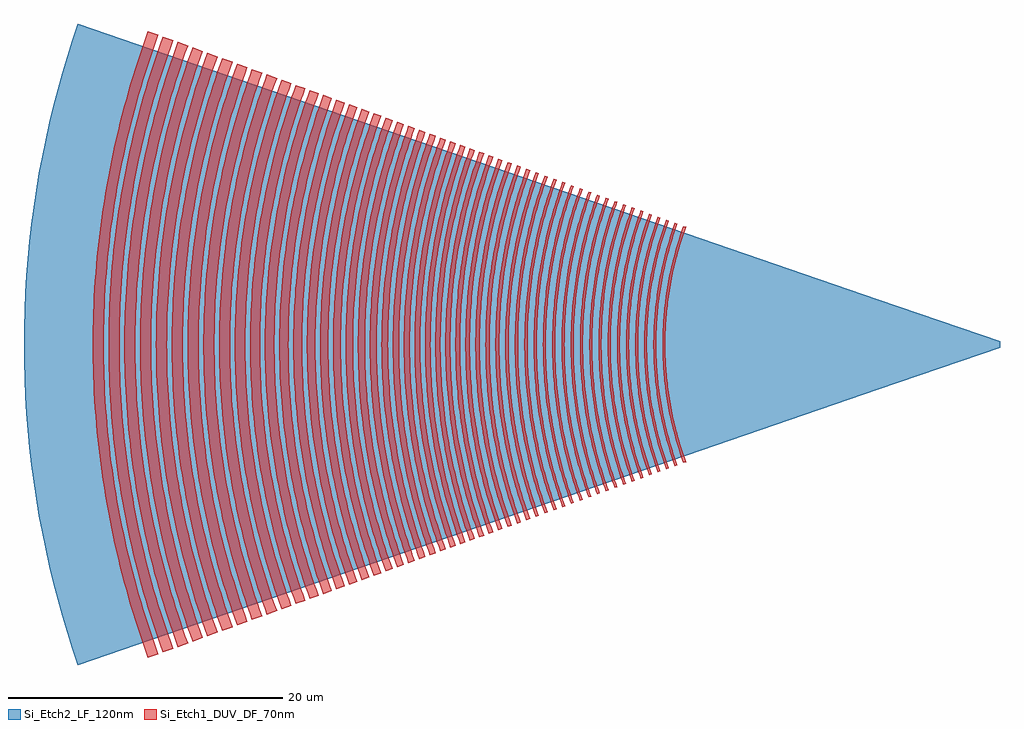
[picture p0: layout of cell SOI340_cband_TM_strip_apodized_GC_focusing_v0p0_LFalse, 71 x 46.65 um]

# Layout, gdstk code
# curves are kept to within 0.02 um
import gdstk
lib = gdstk.Library(unit=1e-6, precision=1e-09)
def P(c, l, *ps):  # polygons
    for p in ps: c.add(gdstk.Polygon(p, *l))
Si_Etch2_LF_120nm = (3, 0)
Si_Etch1_DUV_DF_70nm = (6, 0)

soi340_cband_tm_strip_ap = lib.new_cell('SOI340_cband_TM_strip_apodized_GC_focusing_v0p0_LFalse')
P(soi340_cband_tm_strip_ap, Si_Etch2_LF_120nm, [(-67.092,-23.326),(-67.864,-20.948),(-68.554,-18.544),(-69.159,-16.117),(-69.679,-13.671),(-69.907,-12.442),(-70.298,-9.971),(-70.461,-8.732),(-70.722,-6.245),(-70.897,-3.75),(-70.984,-1.25),(-70.995,0),(-70.984,1.25),(-70.897,3.75),(-70.722,6.245),(-70.461,8.732),(-70.298,9.971),(-69.907,12.442),(-69.679,13.671),(-69.159,16.117),(-68.554,18.544),(-67.864,20.948),(-67.092,23.326),(0,0.225),(0,-0.225)])
P(soi340_cband_tm_strip_ap, Si_Etch1_DUV_DF_70nm, [(-23.027,-8.619),(-23.381,-7.578),(-23.745,-6.31),(-24.164,-4.376),(-24.36,-3.071),(-24.451,-2.196),(-24.523,-1.099),(-24.547,0),(-24.523,1.099),(-24.451,2.196),(-24.36,3.071),(-24.164,4.376),(-23.745,6.31),(-23.381,7.578),(-23.027,8.619),(-22.839,8.551),(-23.255,7.309),(-23.551,6.26),(-23.801,5.198),(-24.039,3.911),(-24.27,1.961),(-24.347,0),(-24.27,-1.961),(-24.039,-3.911),(-23.801,-5.198),(-23.551,-6.26),(-23.255,-7.309),(-22.839,-8.551)],
  [(-23.648,-8.843),(-24.01,-7.776),(-24.326,-6.693),(-24.594,-5.597),(-24.814,-4.491),(-24.985,-3.375),(-25.108,-2.253),(-25.183,-1.127),(-25.207,0),(-25.183,1.127),(-25.108,2.253),(-24.985,3.375),(-24.814,4.491),(-24.594,5.597),(-24.326,6.693),(-24.01,7.776),(-23.648,8.843),(-23.46,8.776),(-23.886,7.502),(-24.19,6.425),(-24.492,5.116),(-24.725,3.793),(-24.928,2.013),(-24.983,1.119),(-25.007,0),(-24.983,-1.119),(-24.928,-2.013),(-24.725,-3.793),(-24.492,-5.116),(-24.19,-6.425),(-23.886,-7.502),(-23.46,-8.776)],
  [(-24.282,-9.074),(-24.654,-7.979),(-24.978,-6.868),(-25.253,-5.743),(-25.479,-4.608),(-25.655,-3.463),(-25.781,-2.312),(-25.857,-1.158),(-25.882,0),(-25.857,1.158),(-25.781,2.312),(-25.655,3.463),(-25.479,4.608),(-25.253,5.743),(-24.978,6.868),(-24.654,7.979),(-24.282,9.074),(-24.094,9.007),(-24.531,7.7),(-24.843,6.594),(-25.107,5.475),(-25.358,4.12),(-25.513,2.981),(-25.601,2.066),(-25.657,1.149),(-25.682,0),(-25.657,-1.149),(-25.601,-2.066),(-25.513,-2.981),(-25.358,-4.12),(-25.107,-5.475),(-24.843,-6.594),(-24.531,-7.7),(-24.094,-9.007)],
  [(-24.89,-9.295),(-25.271,-8.174),(-25.603,-7.035),(-25.884,-5.883),(-26.116,-4.72),(-26.296,-3.548),(-26.425,-2.369),(-26.503,-1.186),(-26.529,0),(-26.503,1.186),(-26.425,2.369),(-26.296,3.548),(-26.116,4.72),(-25.884,5.883),(-25.603,7.035),(-25.271,8.174),(-24.89,9.295),(-24.702,9.228),(-25.15,7.889),(-25.47,6.756),(-25.739,5.61),(-25.997,4.221),(-26.156,3.054),(-26.246,2.117),(-26.313,0.942),(-26.329,0),(-26.313,-0.942),(-26.246,-2.117),(-26.156,-3.054),(-25.997,-4.221),(-25.739,-5.61),(-25.47,-6.756),(-25.15,-7.889),(-24.702,-9.228)],
  [(-25.51,-9.521),(-25.901,-8.372),(-26.303,-6.971),(-26.581,-5.788),(-26.766,-4.835),(-26.951,-3.634),(-27.083,-2.426),(-27.163,-1.215),(-27.189,0),(-27.163,1.215),(-27.083,2.426),(-26.951,3.634),(-26.766,4.835),(-26.581,5.788),(-26.303,6.971),(-25.901,8.372),(-25.51,9.521),(-25.322,9.454),(-25.71,8.312),(-26.109,6.921),(-26.385,5.747),(-26.649,4.324),(-26.783,3.369),(-26.904,2.169),(-26.963,1.206),(-26.989,0),(-26.963,-1.206),(-26.904,-2.169),(-26.783,-3.369),(-26.649,-4.324),(-26.385,-5.747),(-26.109,-6.921),(-25.71,-8.312),(-25.322,-9.454)],
  [(-26.132,-9.749),(-26.532,-8.571),(-26.88,-7.378),(-27.229,-5.926),(-27.418,-4.949),(-27.607,-3.72),(-27.742,-2.485),(-27.824,-1.243),(-27.851,0),(-27.824,1.243),(-27.742,2.485),(-27.607,3.72),(-27.418,4.949),(-27.229,5.926),(-26.88,7.378),(-26.532,8.571),(-26.132,9.749),(-25.941,9.68),(-26.338,8.51),(-26.747,7.086),(-27.03,5.884),(-27.3,4.427),(-27.466,3.204),(-27.561,2.22),(-27.631,0.988),(-27.648,0),(-27.631,-0.988),(-27.561,-2.22),(-27.466,-3.204),(-27.3,-4.427),(-27.03,-5.884),(-26.747,-7.086),(-26.338,-8.51),(-25.941,-9.68)],
  [(-26.769,-9.98),(-27.179,-8.775),(-27.535,-7.553),(-27.837,-6.316),(-28.086,-5.067),(-28.279,-3.809),(-28.418,-2.544),(-28.501,-1.273),(-28.529,0),(-28.501,1.273),(-28.418,2.544),(-28.279,3.809),(-28.086,5.067),(-27.837,6.316),(-27.535,7.553),(-27.179,8.775),(-26.769,9.98),(-26.577,9.911),(-26.984,8.714),(-27.402,7.256),(-27.743,5.777),(-28.007,4.283),(-28.236,2.274),(-28.307,1.011),(-28.325,0),(-28.307,-1.011),(-28.236,-2.274),(-28.007,-4.283),(-27.743,-5.777),(-27.402,-7.256),(-26.984,-8.714),(-26.577,-9.911)],
  [(-27.396,-10.209),(-27.814,-8.976),(-28.179,-7.725),(-28.488,-6.461),(-28.743,-5.182),(-28.906,-4.155),(-29.082,-2.602),(-29.168,-1.302),(-29.196,0),(-29.168,1.302),(-29.082,2.602),(-28.906,4.155),(-28.743,5.182),(-28.488,6.461),(-28.179,7.725),(-27.814,8.976),(-27.396,10.209),(-27.202,10.139),(-27.695,8.667),(-28.046,7.422),(-28.395,5.91),(-28.625,4.637),(-28.769,3.613),(-28.899,2.326),(-28.962,1.293),(-28.99,0),(-28.962,-1.293),(-28.899,-2.326),(-28.769,-3.613),(-28.625,-4.637),(-28.395,-5.91),(-28.046,-7.422),(-27.695,-8.667),(-27.202,-10.139)],
  [(-28.024,-10.436),(-28.452,-9.176),(-28.824,-7.899),(-29.198,-6.345),(-29.4,-5.299),(-29.603,-3.983),(-29.748,-2.66),(-29.835,-1.331),(-29.864,0),(-29.835,1.331),(-29.748,2.66),(-29.603,3.983),(-29.4,5.299),(-29.198,6.345),(-28.824,7.899),(-28.452,9.176),(-28.024,10.436),(-27.836,10.369),(-28.261,9.116),(-28.698,7.591),(-29.002,6.303),(-29.291,4.743),(-29.438,3.695),(-29.571,2.379),(-29.646,1.058),(-29.664,0),(-29.646,-1.058),(-29.571,-2.379),(-29.438,-3.695),(-29.291,-4.743),(-29.002,-6.303),(-28.698,-7.591),(-28.261,-9.116),(-27.836,-10.369)],
  [(-28.663,-10.669),(-29.1,-9.381),(-29.481,-8.074),(-29.804,-6.752),(-30.07,-5.418),(-30.277,-4.072),(-30.425,-2.719),(-30.515,-1.361),(-30.544,0),(-30.515,1.361),(-30.425,2.719),(-30.277,4.072),(-30.07,5.418),(-29.804,6.752),(-29.481,8.074),(-29.1,9.381),(-28.663,10.669),(-28.47,10.6),(-28.905,9.319),(-29.352,7.76),(-29.717,6.179),(-29.999,4.581),(-30.14,3.508),(-30.264,2.162),(-30.339,0),(-30.264,-2.162),(-30.14,-3.508),(-29.999,-4.581),(-29.717,-6.179),(-29.352,-7.76),(-28.905,-9.319),(-28.47,-10.6)],
  [(-29.302,-10.901),(-29.749,-9.586),(-30.138,-8.25),(-30.468,-6.899),(-30.74,-5.536),(-30.951,-4.161),(-31.102,-2.778),(-31.194,-1.391),(-31.224,0),(-31.194,1.391),(-31.102,2.778),(-30.951,4.161),(-30.74,5.536),(-30.468,6.899),(-30.138,8.25),(-29.749,9.586),(-29.302,10.901),(-29.109,10.832),(-29.635,9.26),(-30.01,7.93),(-30.327,6.585),(-30.629,4.955),(-30.783,3.86),(-30.921,2.485),(-31,1.105),(-31.019,0),(-31,-1.105),(-30.921,-2.485),(-30.783,-3.86),(-30.629,-4.955),(-30.327,-6.585),(-30.01,-7.93),(-29.635,-9.26),(-29.109,-10.832)],
  [(-29.921,-11.127),(-30.378,-9.783),(-30.774,-8.421),(-31.112,-7.042),(-31.389,-5.649),(-31.604,-4.247),(-31.759,-2.836),(-31.852,-1.419),(-31.883,0),(-31.852,1.419),(-31.759,2.836),(-31.604,4.247),(-31.389,5.649),(-31.112,7.042),(-30.774,8.421),(-30.378,9.783),(-29.921,11.127),(-29.729,11.058),(-30.183,9.722),(-30.649,8.095),(-31.03,6.446),(-31.281,5.058),(-31.438,3.94),(-31.579,2.537),(-31.648,1.41),(-31.679,0),(-31.648,-1.41),(-31.579,-2.537),(-31.438,-3.94),(-31.281,-5.058),(-31.03,-6.446),(-30.649,-8.095),(-30.183,-9.722),(-29.729,-11.058)],
  [(-30.563,-11.361),(-31.028,-9.99),(-31.434,-8.598),(-31.778,-7.19),(-32.061,-5.768),(-32.282,-4.336),(-32.439,-2.895),(-32.535,-1.449),(-32.566,0),(-32.535,1.449),(-32.439,2.895),(-32.282,4.336),(-32.061,5.768),(-31.778,7.19),(-31.434,8.598),(-31.028,9.99),(-30.563,11.361),(-30.368,11.291),(-30.917,9.652),(-31.307,8.266),(-31.638,6.864),(-31.953,5.164),(-32.147,3.737),(-32.257,2.59),(-32.328,1.44),(-32.359,0),(-32.328,-1.44),(-32.257,-2.59),(-32.147,-3.737),(-31.953,-5.164),(-31.638,-6.864),(-31.307,-8.266),(-30.917,-9.652),(-30.368,-11.291)],
  [(-31.199,-11.593),(-31.675,-10.193),(-32.088,-8.773),(-32.375,-7.625),(-32.728,-5.886),(-32.953,-4.425),(-33.114,-2.954),(-33.211,-1.479),(-33.243,0),(-33.211,1.479),(-33.114,2.954),(-32.953,4.425),(-32.728,5.886),(-32.375,7.625),(-32.088,8.773),(-31.675,10.193),(-31.199,11.593),(-31.006,11.523),(-31.479,10.131),(-31.965,8.436),(-32.362,6.717),(-32.623,5.27),(-32.787,4.106),(-32.934,2.643),(-33.006,1.47),(-33.038,0),(-33.006,-1.47),(-32.934,-2.643),(-32.787,-4.106),(-32.623,-5.27),(-32.362,-6.717),(-31.965,-8.436),(-31.479,-10.131),(-31.006,-11.523)],
  [(-31.828,-11.822),(-32.313,-10.394),(-32.735,-8.946),(-33.094,-7.481),(-33.388,-6.002),(-33.617,-4.512),(-33.781,-3.013),(-33.88,-1.507),(-33.913,0),(-33.88,1.507),(-33.781,3.013),(-33.617,4.512),(-33.388,6.002),(-33.094,7.481),(-32.735,8.946),(-32.313,10.394),(-31.828,11.822),(-31.627,11.749),(-32.198,10.044),(-32.605,8.601),(-33.009,6.849),(-33.276,5.374),(-33.443,4.186),(-33.593,2.695),(-33.678,1.199),(-33.699,0),(-33.678,-1.199),(-33.593,-2.695),(-33.443,-4.186),(-33.276,-5.374),(-33.009,-6.849),(-32.605,-8.601),(-32.198,-10.044),(-31.627,-11.749)],
  [(-32.466,-12.053),(-32.96,-10.598),(-33.39,-9.122),(-33.756,-7.628),(-34.056,-6.12),(-34.289,-4.6),(-34.457,-3.071),(-34.558,-1.538),(-34.591,0),(-34.558,1.538),(-34.457,3.071),(-34.289,4.6),(-34.056,6.12),(-33.756,7.628),(-33.39,9.122),(-32.96,10.598),(-32.466,12.053),(-32.256,11.978),(-32.838,10.239),(-33.252,8.769),(-33.603,7.281),(-33.937,5.478),(-34.143,3.964),(-34.26,2.748),(-34.335,1.528),(-34.368,0),(-34.335,-1.528),(-34.26,-2.748),(-34.143,-3.964),(-33.937,-5.478),(-33.603,-7.281),(-33.252,-8.769),(-32.838,-10.239),(-32.256,-11.978)],
  [(-33.123,-12.293),(-33.627,-10.809),(-34.066,-9.303),(-34.506,-7.473),(-34.744,-6.241),(-34.983,-4.692),(-35.154,-3.133),(-35.257,-1.568),(-35.291,0),(-35.257,1.568),(-35.154,3.133),(-34.983,4.692),(-34.744,6.241),(-34.506,7.473),(-34.066,9.303),(-33.627,10.809),(-33.123,12.293),(-32.905,12.214),(-33.499,10.441),(-33.921,8.942),(-34.279,7.425),(-34.619,5.587),(-34.793,4.352),(-34.949,2.802),(-35.025,1.558),(-35.059,0),(-35.025,-1.558),(-34.949,-2.802),(-34.793,-4.352),(-34.619,-5.587),(-34.279,-7.425),(-33.921,-8.942),(-33.499,-10.441),(-32.905,-12.214)],
  [(-33.777,-12.531),(-34.292,-11.018),(-34.738,-9.483),(-35.118,-7.931),(-35.43,-6.362),(-35.674,-4.782),(-35.848,-3.194),(-35.952,-1.598),(-35.987,0),(-35.952,1.598),(-35.848,3.194),(-35.674,4.782),(-35.43,6.362),(-35.118,7.931),(-34.738,9.483),(-34.292,11.018),(-33.777,12.531),(-33.544,12.447),(-34.055,10.943),(-34.58,9.112),(-34.944,7.566),(-35.291,5.693),(-35.468,4.435),(-35.627,2.855),(-35.717,1.27),(-35.739,0),(-35.717,-1.27),(-35.627,-2.855),(-35.468,-4.435),(-35.291,-5.693),(-34.944,-7.566),(-34.58,-9.112),(-34.055,-10.943),(-33.544,-12.447)],
  [(-34.446,-12.775),(-34.97,-11.232),(-35.426,-9.667),(-35.813,-8.084),(-36.132,-6.486),(-36.38,-4.876),(-36.557,-3.256),(-36.664,-1.629),(-36.699,0),(-36.664,1.629),(-36.557,3.256),(-36.38,4.876),(-36.132,6.486),(-35.813,8.084),(-35.426,9.667),(-34.97,11.232),(-34.446,12.775),(-34.181,12.679),(-34.797,10.838),(-35.236,9.282),(-35.673,7.391),(-35.961,5.799),(-36.141,4.518),(-36.303,2.908),(-36.382,1.617),(-36.417,0),(-36.382,-1.617),(-36.303,-2.908),(-36.141,-4.518),(-35.961,-5.799),(-35.673,-7.391),(-35.236,-9.282),(-34.797,-10.838),(-34.181,-12.679)],
  [(-35.129,-13.023),(-35.663,-11.451),(-36.129,-9.856),(-36.523,-8.242),(-36.847,-6.613),(-37.1,-4.971),(-37.281,-3.319),(-37.39,-1.661),(-37.426,0),(-37.39,1.661),(-37.281,3.319),(-37.1,4.971),(-36.847,6.613),(-36.523,8.242),(-36.129,9.856),(-35.663,11.451),(-35.129,13.023),(-34.851,12.923),(-35.479,11.047),(-35.927,9.46),(-36.304,7.856),(-36.665,5.911),(-36.887,4.277),(-37.014,2.964),(-37.107,1.319),(-37.13,0),(-37.107,-1.319),(-37.014,-2.964),(-36.887,-4.277),(-36.665,-5.911),(-36.304,-7.856),(-35.927,-9.46),(-35.479,-11.047),(-34.851,-12.923)],
  [(-35.815,-13.273),(-36.36,-11.67),(-36.833,-10.045),(-37.236,-8.4),(-37.566,-6.739),(-37.824,-5.066),(-38.009,-3.382),(-38.119,-1.693),(-38.156,0),(-38.119,1.693),(-38.009,3.382),(-37.824,5.066),(-37.566,6.739),(-37.236,8.4),(-36.833,10.045),(-36.36,11.67),(-35.815,13.273),(-35.522,13.167),(-36.162,11.255),(-36.618,9.639),(-37.071,7.675),(-37.421,5.69),(-37.597,4.358),(-37.75,2.685),(-37.821,1.344),(-37.844,0),(-37.821,-1.344),(-37.75,-2.685),(-37.597,-4.358),(-37.421,-5.69),(-37.071,-7.675),(-36.618,-9.639),(-36.162,-11.255),(-35.522,-13.167)],
  [(-36.501,-13.521),(-37.055,-11.889),(-37.538,-10.234),(-37.947,-8.558),(-38.284,-6.866),(-38.547,-5.161),(-38.735,-3.446),(-38.848,-1.725),(-38.885,0),(-38.848,1.725),(-38.735,3.446),(-38.547,5.161),(-38.284,6.866),(-37.947,8.558),(-37.538,10.234),(-37.055,11.889),(-36.501,13.521),(-36.197,13.412),(-36.747,11.792),(-37.313,9.819),(-37.775,7.818),(-38.131,5.796),(-38.31,4.439),(-38.441,3.077),(-38.525,1.711),(-38.562,0),(-38.525,-1.711),(-38.441,-3.077),(-38.31,-4.439),(-38.131,-5.796),(-37.775,-7.818),(-37.313,-9.819),(-36.747,-11.792),(-36.197,-13.412)],
  [(-37.184,-13.77),(-37.748,-12.108),(-38.24,-10.422),(-38.658,-8.715),(-39,-6.992),(-39.267,-5.255),(-39.459,-3.51),(-39.574,-1.757),(-39.612,0),(-39.574,1.757),(-39.459,3.51),(-39.267,5.255),(-39,6.992),(-38.658,8.715),(-38.24,10.422),(-37.748,12.108),(-37.184,13.77),(-36.865,13.655),(-37.528,11.673),(-38.087,9.659),(-38.539,7.618),(-38.834,5.901),(-39.016,4.52),(-39.176,2.785),(-39.249,1.393),(-39.273,0),(-39.249,-1.393),(-39.176,-2.785),(-39.016,-4.52),(-38.834,-5.901),(-38.539,-7.618),(-38.087,-9.659),(-37.528,-11.673),(-36.865,-13.655)],
  [(-37.869,-14.019),(-38.444,-12.327),(-38.944,-10.61),(-39.37,-8.873),(-39.719,-7.119),(-39.99,-5.35),(-40.185,-3.573),(-40.302,-1.789),(-40.341,0),(-40.302,1.789),(-40.185,3.573),(-39.99,5.35),(-39.719,7.119),(-39.37,8.873),(-38.944,10.61),(-38.444,12.327),(-37.869,14.019),(-37.534,13.899),(-38.104,12.22),(-38.691,10.175),(-39.169,8.102),(-39.539,6.007),(-39.724,4.6),(-39.86,3.188),(-39.96,1.418),(-39.985,0),(-39.96,-1.418),(-39.86,-3.188),(-39.724,-4.6),(-39.539,-6.007),(-39.169,-8.102),(-38.691,-10.175),(-38.104,-12.22),(-37.534,-13.899)],
  [(-38.559,-14.27),(-39.144,-12.547),(-39.653,-10.8),(-40.086,-9.032),(-40.441,-7.246),(-40.718,-5.447),(-40.917,-3.637),(-41.036,-1.821),(-41.075,0),(-41.036,1.821),(-40.917,3.637),(-40.718,5.447),(-40.441,7.246),(-40.086,9.032),(-39.653,10.8),(-39.144,12.547),(-38.559,14.27),(-38.207,14.144),(-38.894,12.091),(-39.473,10.004),(-39.871,8.245),(-40.247,6.113),(-40.435,4.681),(-40.574,3.245),(-40.662,1.804),(-40.701,0),(-40.662,-1.804),(-40.574,-3.245),(-40.435,-4.681),(-40.247,-6.113),(-39.871,-8.245),(-39.473,-10.004),(-38.894,-12.091),(-38.207,-14.144)],
  [(-39.258,-14.525),(-39.853,-12.772),(-40.372,-10.992),(-40.813,-9.193),(-41.174,-7.375),(-41.456,-5.544),(-41.658,-3.702),(-41.779,-1.853),(-41.819,0),(-41.779,1.853),(-41.658,3.702),(-41.456,5.544),(-41.174,7.375),(-40.813,9.193),(-40.372,10.992),(-39.853,12.772),(-39.258,14.525),(-38.889,14.392),(-39.479,12.654),(-40.087,10.536),(-40.582,8.389),(-40.965,6.22),(-41.157,4.764),(-41.297,3.302),(-41.387,1.836),(-41.427,0),(-41.387,-1.836),(-41.297,-3.302),(-41.157,-4.764),(-40.965,-6.22),(-40.582,-8.389),(-40.087,-10.536),(-39.479,-12.654),(-38.889,-14.392)],
  [(-39.974,-14.785),(-40.579,-13.001),(-41.107,-11.189),(-41.555,-9.357),(-41.923,-7.507),(-42.21,-5.643),(-42.415,-3.768),(-42.539,-1.886),(-42.58,0),(-42.539,1.886),(-42.415,3.768),(-42.21,5.643),(-41.923,7.507),(-41.555,9.357),(-41.107,11.189),(-40.579,13.001),(-39.974,14.785),(-39.587,14.646),(-40.298,12.52),(-40.897,10.36),(-41.382,8.171),(-41.699,6.329),(-41.894,4.848),(-42.065,2.987),(-42.143,1.494),(-42.169,0),(-42.143,-1.494),(-42.065,-2.987),(-41.894,-4.848),(-41.699,-6.329),(-41.382,-8.171),(-40.897,-10.36),(-40.298,-12.52),(-39.587,-14.646)],
  [(-40.71,-15.052),(-41.326,-13.236),(-41.863,-11.392),(-42.32,-9.527),(-42.694,-7.643),(-42.986,-5.745),(-43.195,-3.837),(-43.322,-1.92),(-43.363,0),(-43.322,1.92),(-43.195,3.837),(-42.986,5.745),(-42.694,7.643),(-42.32,9.527),(-41.863,11.392),(-41.326,13.236),(-40.71,15.052),(-40.303,14.907),(-41.027,12.743),(-41.543,10.913),(-42.056,8.689),(-42.452,6.442),(-42.651,4.934),(-42.797,3.42),(-42.89,1.901),(-42.931,0),(-42.89,-1.901),(-42.797,-3.42),(-42.651,-4.934),(-42.452,-6.442),(-42.056,-8.689),(-41.543,-10.913),(-41.027,-12.743),(-40.303,-14.907)],
  [(-41.464,-15.327),(-42.093,-13.477),(-42.639,-11.601),(-43.104,-9.701),(-43.486,-7.783),(-43.783,-5.85),(-43.996,-3.906),(-44.125,-1.955),(-44.167,0),(-44.125,1.955),(-43.996,3.906),(-43.783,5.85),(-43.486,7.783),(-43.104,9.701),(-42.639,11.601),(-42.093,13.477),(-41.464,15.327),(-41.038,15.174),(-41.661,13.341),(-42.301,11.109),(-42.823,8.845),(-43.227,6.558),(-43.429,5.022),(-43.606,3.095),(-43.687,1.548),(-43.714,0),(-43.687,-1.548),(-43.606,-3.095),(-43.429,-5.022),(-43.227,-6.558),(-42.823,-8.845),(-42.301,-11.109),(-41.661,-13.341),(-41.038,-15.174)],
  [(-42.239,-15.609),(-42.878,-13.725),(-43.436,-11.813),(-43.909,-9.88),(-44.298,-7.926),(-44.601,-5.958),(-44.817,-3.978),(-44.948,-1.99),(-44.991,0),(-44.948,1.99),(-44.817,3.978),(-44.601,5.958),(-44.298,7.926),(-43.909,9.88),(-43.436,11.813),(-42.878,13.725),(-42.239,15.609),(-41.794,15.449),(-42.544,13.207),(-43.079,11.31),(-43.611,9.006),(-44.022,6.677),(-44.228,5.114),(-44.379,3.544),(-44.475,1.97),(-44.518,0),(-44.475,-1.97),(-44.379,-3.544),(-44.228,-5.114),(-44.022,-6.677),(-43.611,-9.006),(-43.079,-11.31),(-42.544,-13.207),(-41.794,-15.449)],
  [(-43.034,-15.899),(-43.685,-13.98),(-44.253,-12.032),(-44.735,-10.062),(-45.131,-8.073),(-45.44,-6.069),(-45.66,-4.052),(-45.793,-2.028),(-45.837,0),(-45.793,2.028),(-45.66,4.052),(-45.44,6.069),(-45.131,8.073),(-44.735,10.062),(-44.253,12.032),(-43.685,13.98),(-43.034,15.899),(-42.568,15.731),(-43.213,13.831),(-43.775,11.904),(-44.252,9.955),(-44.643,7.987),(-44.949,6.004),(-45.167,4.009),(-45.298,2.006),(-45.342,0),(-45.298,-2.006),(-45.167,-4.009),(-44.949,-6.004),(-44.643,-7.987),(-44.252,-9.955),(-43.775,-11.904),(-43.213,-13.831),(-42.568,-15.731)],
  [(-43.851,-16.196),(-44.514,-14.241),(-45.092,-12.257),(-45.584,-10.25),(-45.986,-8.224),(-46.301,-6.182),(-46.526,-4.128),(-46.661,-2.065),(-46.706,0),(-46.661,2.065),(-46.526,4.128),(-46.301,6.182),(-45.986,8.224),(-45.584,10.25),(-45.092,12.257),(-44.514,14.241),(-43.851,16.196),(-43.363,16.021),(-44.02,14.085),(-44.592,12.123),(-45.078,10.138),(-45.476,8.134),(-45.787,6.114),(-46.01,4.082),(-46.143,2.043),(-46.188,0),(-46.143,-2.043),(-46.01,-4.082),(-45.787,-6.114),(-45.476,-8.134),(-45.078,-10.138),(-44.592,-12.123),(-44.02,-14.085),(-43.363,-16.021)],
  [(-44.688,-16.499),(-45.364,-14.508),(-45.953,-12.488),(-46.453,-10.443),(-46.864,-8.379),(-47.184,-6.297),(-47.413,-4.205),(-47.552,-2.104),(-47.597,0),(-47.552,2.104),(-47.413,4.205),(-47.184,6.297),(-46.864,8.379),(-46.453,10.443),(-45.953,12.488),(-45.364,14.508),(-44.688,16.499),(-44.179,16.317),(-44.848,14.346),(-45.43,12.348),(-45.925,10.326),(-46.331,8.285),(-46.648,6.227),(-46.874,4.158),(-47.011,2.081),(-47.056,0),(-47.011,-2.081),(-46.874,-4.158),(-46.648,-6.227),(-46.331,-8.285),(-45.925,-10.326),(-45.43,-12.348),(-44.848,-14.346),(-44.179,-16.317)],
  [(-45.548,-16.813),(-46.237,-14.784),(-46.837,-12.725),(-47.347,-10.642),(-47.765,-8.537),(-48.091,-6.418),(-48.325,-4.285),(-48.465,-2.145),(-48.512,0),(-48.465,2.145),(-48.325,4.285),(-48.091,6.418),(-47.765,8.537),(-47.347,10.642),(-46.837,12.725),(-46.237,14.784),(-45.548,16.813),(-45.016,16.622),(-45.698,14.614),(-46.291,12.579),(-46.795,10.519),(-47.209,8.439),(-47.531,6.344),(-47.762,4.236),(-47.901,2.12),(-47.947,0),(-47.901,-2.12),(-47.762,-4.236),(-47.531,-6.344),(-47.209,-8.439),(-46.795,-10.519),(-46.291,-12.579),(-45.698,-14.614),(-45.016,-16.622)],
  [(-46.43,-17.134),(-47.132,-15.066),(-47.744,-12.968),(-48.263,-10.845),(-48.69,-8.7),(-49.022,-6.54),(-49.261,-4.367),(-49.403,-2.186),(-49.451,0),(-49.403,2.186),(-49.261,4.367),(-49.022,6.54),(-48.69,8.7),(-48.263,10.845),(-47.744,12.968),(-47.132,15.066),(-46.43,17.134),(-45.876,16.935),(-46.57,14.889),(-47.175,12.815),(-47.688,10.717),(-48.11,8.598),(-48.438,6.463),(-48.674,4.316),(-48.815,2.16),(-48.862,0),(-48.815,-2.16),(-48.674,-4.316),(-48.438,-6.463),(-48.11,-8.598),(-47.688,-10.717),(-47.175,-12.815),(-46.57,-14.889),(-45.876,-16.935)],
  [(-47.337,-17.464),(-48.053,-15.356),(-48.676,-13.217),(-49.206,-11.053),(-49.64,-8.868),(-49.979,-6.666),(-50.222,-4.45),(-50.367,-2.228),(-50.416,0),(-50.367,2.228),(-50.222,4.45),(-49.979,6.666),(-49.64,8.868),(-49.206,11.053),(-48.676,13.217),(-48.053,15.356),(-47.337,17.464),(-46.758,17.256),(-47.466,15.172),(-48.082,13.058),(-48.605,10.92),(-49.034,8.761),(-49.369,6.586),(-49.609,4.397),(-49.753,2.201),(-49.801,0),(-49.753,-2.201),(-49.609,-4.397),(-49.369,-6.586),(-49.034,-8.761),(-48.605,-10.92),(-48.082,-13.058),(-47.466,-15.172),(-46.758,-17.256)],
  [(-48.268,-17.803),(-48.997,-15.655),(-49.633,-13.474),(-50.173,-11.268),(-50.616,-9.041),(-50.962,-6.796),(-51.209,-4.537),(-51.357,-2.271),(-51.407,0),(-51.357,2.271),(-51.209,4.537),(-50.962,6.796),(-50.616,9.041),(-50.173,11.268),(-49.633,13.474),(-48.997,15.655),(-48.268,17.803),(-47.665,17.586),(-48.386,15.462),(-49.014,13.308),(-49.547,11.129),(-49.985,8.929),(-50.326,6.712),(-50.57,4.481),(-50.717,2.243),(-50.766,0),(-50.717,-2.243),(-50.57,-4.481),(-50.326,-6.712),(-49.985,-8.929),(-49.547,-11.129),(-49.014,-13.308),(-48.386,-15.462),(-47.665,-17.586)],
  [(-49.225,-18.152),(-49.969,-15.961),(-50.617,-13.738),(-51.168,-11.489),(-51.62,-9.217),(-51.972,-6.928),(-52.225,-4.626),(-52.375,-2.315),(-52.426,0),(-52.375,2.315),(-52.225,4.626),(-51.972,6.928),(-51.62,9.217),(-51.168,11.489),(-50.617,13.738),(-49.969,15.961),(-49.225,18.152),(-48.596,17.925),(-49.331,15.76),(-49.971,13.565),(-50.515,11.344),(-50.961,9.101),(-51.309,6.841),(-51.558,4.568),(-51.707,2.286),(-51.757,0),(-51.707,-2.286),(-51.558,-4.568),(-51.309,-6.841),(-50.961,-9.101),(-50.515,-11.344),(-49.971,-13.565),(-49.331,-15.76),(-48.596,-17.925)],
  [(-50.21,-18.509),(-50.968,-16.275),(-51.628,-14.008),(-52.191,-11.714),(-52.65,-9.399),(-53.01,-7.065),(-53.267,-4.718),(-53.421,-2.361),(-53.473,0),(-53.421,2.361),(-53.267,4.718),(-53.01,7.065),(-52.65,9.399),(-52.191,11.714),(-51.628,14.008),(-50.968,16.275),(-50.21,18.509),(-49.554,18.274),(-50.303,16.066),(-50.955,13.828),(-51.51,11.564),(-51.964,9.278),(-52.319,6.974),(-52.573,4.657),(-52.725,2.331),(-52.776,0),(-52.725,-2.331),(-52.573,-4.657),(-52.319,-6.974),(-51.964,-9.278),(-51.51,-11.564),(-50.955,-13.828),(-50.303,-16.066),(-49.554,-18.274)],
  [(-51.222,-18.876),(-51.994,-16.599),(-52.668,-14.287),(-53.241,-11.948),(-53.71,-9.586),(-54.077,-7.206),(-54.339,-4.811),(-54.496,-2.408),(-54.549,0),(-54.496,2.408),(-54.339,4.811),(-54.077,7.206),(-53.71,9.586),(-53.241,11.948),(-52.668,14.287),(-51.994,16.599),(-51.222,18.876),(-50.538,18.632),(-51.302,16.381),(-51.967,14.099),(-52.532,11.791),(-52.995,9.46),(-53.357,7.111),(-53.616,4.748),(-53.771,2.376),(-53.823,0),(-53.771,-2.376),(-53.616,-4.748),(-53.357,-7.111),(-52.995,-9.46),(-52.532,-11.791),(-51.967,-14.099),(-51.302,-16.381),(-50.538,-18.632)],
  [(-52.261,-19.256),(-53.05,-16.933),(-53.737,-14.574),(-54.321,-12.188),(-54.801,-9.778),(-55.174,-7.35),(-55.442,-4.908),(-55.602,-2.456),(-55.656,0),(-55.602,2.456),(-55.442,4.908),(-55.174,7.35),(-54.801,9.778),(-54.321,12.188),(-53.737,14.574),(-53.05,16.933),(-52.261,19.256),(-51.549,19),(-52.328,16.705),(-53.006,14.378),(-53.582,12.024),(-54.055,9.647),(-54.424,7.251),(-54.688,4.842),(-54.846,2.423),(-54.899,0),(-54.846,-2.423),(-54.688,-4.842),(-54.424,-7.251),(-54.055,-9.647),(-53.582,-12.024),(-53.006,-14.378),(-52.328,-16.705),(-51.549,-19)],
  [(-53.332,-19.645),(-54.137,-17.275),(-54.837,-14.868),(-55.433,-12.434),(-55.922,-9.976),(-56.303,-7.498),(-56.576,-5.007),(-56.74,-2.505),(-56.795,0),(-56.74,2.505),(-56.576,5.007),(-56.303,7.498),(-55.922,9.976),(-55.433,12.434),(-54.837,14.868),(-54.137,17.275),(-53.332,19.645),(-52.589,19.379),(-53.384,17.038),(-54.075,14.664),(-54.663,12.263),(-55.145,9.839),(-55.521,7.395),(-55.79,4.938),(-55.952,2.471),(-56.006,0),(-55.952,-2.471),(-55.79,-4.938),(-55.521,-7.395),(-55.145,-9.839),(-54.663,-12.263),(-54.075,-14.664),(-53.384,-17.038),(-52.589,-19.379)],
  [(-54.412,-20.039),(-55.233,-17.621),(-55.949,-15.166),(-56.556,-12.683),(-57.055,-10.176),(-57.444,-7.648),(-57.722,-5.107),(-57.889,-2.556),(-57.945,0),(-57.889,2.556),(-57.722,5.107),(-57.444,7.648),(-57.055,10.176),(-56.556,12.683),(-55.949,15.166),(-55.233,17.621),(-54.412,20.039),(-53.659,19.768),(-54.47,17.38),(-55.176,14.959),(-55.775,12.51),(-56.267,10.037),(-56.651,7.544),(-56.925,5.037),(-57.09,2.521),(-57.145,0),(-57.09,-2.521),(-56.925,-5.037),(-56.651,-7.544),(-56.267,-10.037),(-55.775,-12.51),(-55.176,-14.959),(-54.47,-17.38),(-53.659,-19.768)],
  [(-55.493,-20.432),(-56.33,-17.966),(-57.059,-15.464),(-57.679,-12.932),(-58.187,-10.375),(-58.584,-7.799),(-58.868,-5.207),(-59.038,-2.606),(-59.095,0),(-59.038,2.606),(-58.868,5.207),(-58.584,7.799),(-58.187,10.375),(-57.679,12.932),(-57.059,15.464),(-56.33,17.966),(-55.493,20.432),(-54.74,20.161),(-55.567,17.726),(-56.286,15.257),(-56.898,12.759),(-57.399,10.236),(-57.791,7.694),(-58.071,5.138),(-58.239,2.571),(-58.295,0),(-58.239,-2.571),(-58.071,-5.138),(-57.791,-7.694),(-57.399,-10.236),(-56.898,-12.759),(-56.286,-15.257),(-55.567,-17.726),(-54.74,-20.161)],
  [(-56.574,-20.825),(-57.426,-18.312),(-58.17,-15.762),(-58.801,-13.181),(-59.32,-10.575),(-59.724,-7.948),(-60.013,-5.308),(-60.187,-2.655),(-60.245,0),(-60.187,2.655),(-60.013,5.308),(-59.724,7.948),(-59.32,10.575),(-58.801,13.181),(-58.17,15.762),(-57.426,18.312),(-56.574,20.825),(-55.821,20.555),(-56.663,18.072),(-57.397,15.555),(-58.02,13.008),(-58.532,10.436),(-58.931,7.844),(-59.216,5.238),(-59.388,2.621),(-59.445,0),(-59.388,-2.621),(-59.216,-5.238),(-58.931,-7.844),(-58.532,-10.436),(-58.02,-13.008),(-57.397,-15.555),(-56.663,-18.072),(-55.821,-20.555)],
  [(-57.654,-21.219),(-58.523,-18.659),(-59.281,-16.059),(-59.924,-13.43),(-60.453,-10.775),(-60.864,-8.098),(-61.159,-5.408),(-61.336,-2.707),(-61.395,0),(-61.336,2.707),(-61.159,5.408),(-60.864,8.098),(-60.453,10.775),(-59.924,13.43),(-59.281,16.059),(-58.523,18.659),(-57.654,21.219),(-56.901,20.948),(-57.76,18.418),(-58.508,15.852),(-59.143,13.256),(-59.665,10.636),(-60.071,7.994),(-60.362,5.338),(-60.537,2.672),(-60.595,0),(-60.537,-2.672),(-60.362,-5.338),(-60.071,-7.994),(-59.665,-10.636),(-59.143,-13.256),(-58.508,-15.852),(-57.76,-18.418),(-56.901,-20.948)],
  [(-58.735,-21.612),(-59.62,-19.004),(-60.392,-16.356),(-61.047,-13.678),(-61.585,-10.974),(-62.004,-8.249),(-62.305,-5.508),(-62.485,-2.757),(-62.545,0),(-62.485,2.757),(-62.305,5.508),(-62.004,8.249),(-61.585,10.974),(-61.047,13.678),(-60.392,16.356),(-59.62,19.004),(-58.735,21.612),(-57.982,21.341),(-58.857,18.763),(-59.619,16.15),(-60.266,13.505),(-60.797,10.835),(-61.211,8.145),(-61.508,5.438),(-61.686,2.722),(-61.745,0),(-61.686,-2.722),(-61.508,-5.438),(-61.211,-8.145),(-60.797,-10.835),(-60.266,-13.505),(-59.619,-16.15),(-58.857,-18.763),(-57.982,-21.341)],
  [(-59.816,-22.005),(-60.717,-19.349),(-61.503,-16.654),(-62.17,-13.927),(-62.718,-11.173),(-63.144,-8.399),(-63.45,-5.609),(-63.634,-2.807),(-63.695,0),(-63.634,2.807),(-63.45,5.609),(-63.144,8.399),(-62.718,11.173),(-62.17,13.927),(-61.503,16.654),(-60.717,19.349),(-59.816,22.005),(-59.063,21.735),(-59.954,19.109),(-60.73,16.447),(-61.389,13.754),(-61.93,11.035),(-62.351,8.295),(-62.653,5.539),(-62.835,2.772),(-62.895,0),(-62.835,-2.772),(-62.653,-5.539),(-62.351,-8.295),(-61.93,-11.035),(-61.389,-13.754),(-60.73,-16.447),(-59.954,-19.109),(-59.063,-21.735)],
  [(-60.896,-22.399),(-61.814,-19.696),(-62.613,-16.952),(-63.292,-14.176),(-63.85,-11.374),(-64.284,-8.55),(-64.596,-5.709),(-64.782,-2.857),(-64.845,0),(-64.782,2.857),(-64.596,5.709),(-64.284,8.55),(-63.85,11.374),(-63.292,14.176),(-62.613,16.952),(-61.814,19.696),(-60.896,22.399),(-60.143,22.128),(-61.051,19.455),(-61.84,16.745),(-62.511,14.003),(-63.062,11.235),(-63.491,8.445),(-63.799,5.639),(-63.983,2.822),(-64.045,0),(-63.983,-2.822),(-63.799,-5.639),(-63.491,-8.445),(-63.062,-11.235),(-62.511,-14.003),(-61.84,-16.745),(-61.051,-19.455),(-60.143,-22.128)],
  [(-61.977,-22.791),(-62.91,-20.042),(-63.724,-17.25),(-64.415,-14.425),(-64.983,-11.573),(-65.425,-8.699),(-65.741,-5.809),(-65.931,-2.907),(-65.995,0),(-65.931,2.907),(-65.741,5.809),(-65.425,8.699),(-64.983,11.573),(-64.415,14.425),(-63.724,17.25),(-62.91,20.042),(-61.977,22.791),(-61.224,22.521),(-62.147,19.801),(-62.951,17.043),(-63.634,14.252),(-64.195,11.434),(-64.632,8.595),(-64.944,5.739),(-65.132,2.872),(-65.195,0),(-65.132,-2.872),(-64.944,-5.739),(-64.632,-8.595),(-64.195,-11.434),(-63.634,-14.252),(-62.951,-17.043),(-62.147,-19.801),(-61.224,-22.521)])

lib.write_gds('SOI340_cband_TM_strip_apodized_GC_focusing_v0p0_LFalse.gds')
